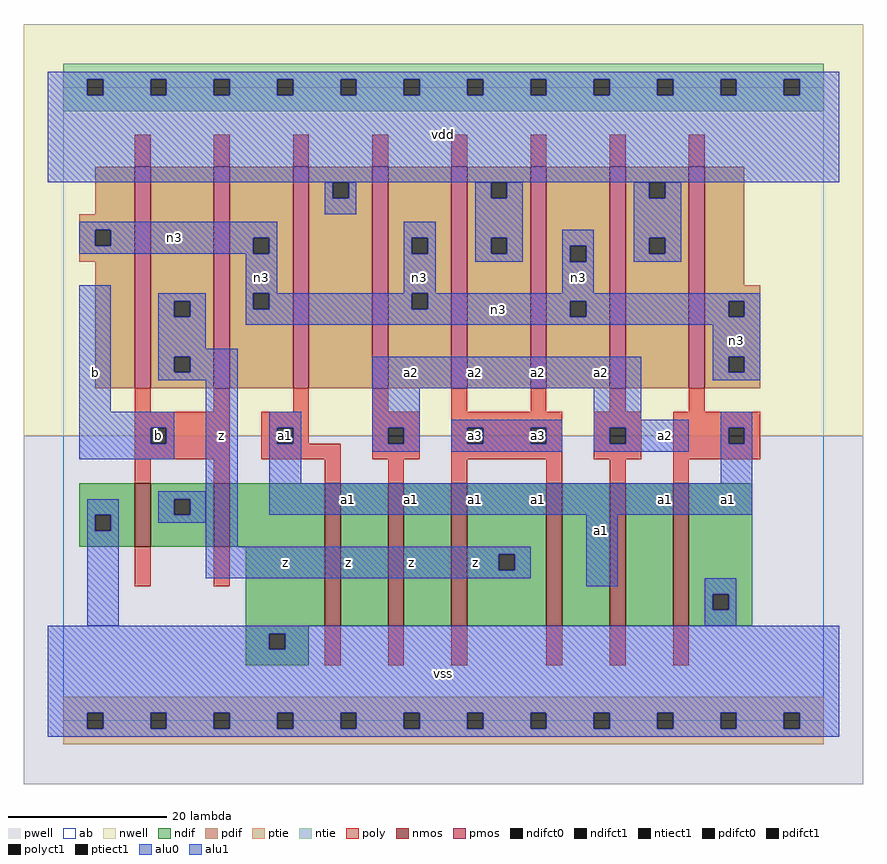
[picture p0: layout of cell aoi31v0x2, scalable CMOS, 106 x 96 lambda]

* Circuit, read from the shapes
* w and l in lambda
.subckt aoi31v0x2 a1 a2 a3 b n3 vdd vss z
M1 z b vss vss nfet w=8 l=2 m=2
M2 n1 a1 vss vss nfet w=18 l=2
M3 n2 a2 n1 vss nfet w=18 l=2
M4 z a3 n2 vss nfet w=18 l=2
M5 n4 a3 z vss nfet w=18 l=2
M6 n5 a2 n4 vss nfet w=18 l=2
M7 vss a1 n5 vss nfet w=18 l=2
M8 z b n3 vdd pfet w=28 l=2 m=2
M9 vdd a1 n3 vdd pfet w=28 l=2 m=2
M10 n3 a2 vdd vdd pfet w=28 l=2 m=2
M11 vdd a3 n3 vdd pfet w=28 l=2 m=2
.ends

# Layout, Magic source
magic
tech scmos
<< ab >>
rect 0 0 96 80
<< nwell >>
rect -5 36 101 88
<< pwell >>
rect -5 -8 101 36
<< poly >>
rect 9 70 11 74
rect 19 70 21 74
rect 29 70 31 74
rect 39 70 41 74
rect 49 70 51 74
rect 59 70 61 74
rect 69 70 71 74
rect 79 70 81 74
rect 9 39 11 42
rect 19 39 21 42
rect 29 39 31 42
rect 9 37 21 39
rect 9 35 11 37
rect 13 35 21 37
rect 9 33 21 35
rect 25 37 31 39
rect 25 35 27 37
rect 29 35 31 37
rect 39 39 41 42
rect 49 39 51 42
rect 59 39 61 42
rect 69 39 71 42
rect 79 39 81 42
rect 39 37 45 39
rect 39 35 41 37
rect 43 35 45 37
rect 25 33 35 35
rect 39 33 45 35
rect 49 37 63 39
rect 49 35 51 37
rect 53 35 59 37
rect 61 35 63 37
rect 49 33 63 35
rect 67 37 73 39
rect 67 35 69 37
rect 71 35 73 37
rect 67 33 73 35
rect 77 37 88 39
rect 77 35 84 37
rect 86 35 88 37
rect 77 33 88 35
rect 9 30 11 33
rect 19 30 21 33
rect 33 30 35 33
rect 41 30 43 33
rect 49 30 51 33
rect 61 30 63 33
rect 69 30 71 33
rect 77 30 79 33
rect 9 17 11 22
rect 19 17 21 22
rect 33 7 35 12
rect 41 7 43 12
rect 49 7 51 12
rect 61 7 63 12
rect 69 7 71 12
rect 77 7 79 12
<< ndif >>
rect 2 26 9 30
rect 2 24 4 26
rect 6 24 9 26
rect 2 22 9 24
rect 11 28 19 30
rect 11 26 14 28
rect 16 26 19 28
rect 11 22 19 26
rect 21 22 33 30
rect 23 12 33 22
rect 35 12 41 30
rect 43 12 49 30
rect 51 21 61 30
rect 51 19 55 21
rect 57 19 61 21
rect 51 12 61 19
rect 63 12 69 30
rect 71 12 77 30
rect 79 16 87 30
rect 79 14 82 16
rect 84 14 87 16
rect 79 12 87 14
rect 23 11 31 12
rect 23 9 26 11
rect 28 9 31 11
rect 23 7 31 9
<< pdif >>
rect 4 64 9 70
rect 2 62 9 64
rect 2 60 4 62
rect 6 60 9 62
rect 2 58 9 60
rect 4 42 9 58
rect 11 53 19 70
rect 11 51 14 53
rect 16 51 19 53
rect 11 46 19 51
rect 11 44 14 46
rect 16 44 19 46
rect 11 42 19 44
rect 21 61 29 70
rect 21 59 24 61
rect 26 59 29 61
rect 21 54 29 59
rect 21 52 24 54
rect 26 52 29 54
rect 21 42 29 52
rect 31 68 39 70
rect 31 66 34 68
rect 36 66 39 68
rect 31 42 39 66
rect 41 61 49 70
rect 41 59 44 61
rect 46 59 49 61
rect 41 54 49 59
rect 41 52 44 54
rect 46 52 49 54
rect 41 42 49 52
rect 51 68 59 70
rect 51 66 54 68
rect 56 66 59 68
rect 51 61 59 66
rect 51 59 54 61
rect 56 59 59 61
rect 51 42 59 59
rect 61 60 69 70
rect 61 58 64 60
rect 66 58 69 60
rect 61 53 69 58
rect 61 51 64 53
rect 66 51 69 53
rect 61 42 69 51
rect 71 68 79 70
rect 71 66 74 68
rect 76 66 79 68
rect 71 61 79 66
rect 71 59 74 61
rect 76 59 79 61
rect 71 42 79 59
rect 81 55 86 70
rect 81 53 88 55
rect 81 51 84 53
rect 86 51 88 53
rect 81 46 88 51
rect 81 44 84 46
rect 86 44 88 46
rect 81 42 88 44
<< alu1 >>
rect -2 81 98 82
rect -2 79 3 81
rect 5 79 11 81
rect 13 79 19 81
rect 21 79 27 81
rect 29 79 35 81
rect 37 79 43 81
rect 45 79 51 81
rect 53 79 59 81
rect 61 79 67 81
rect 69 79 75 81
rect 77 79 83 81
rect 85 79 91 81
rect 93 79 98 81
rect -2 68 98 79
rect 2 39 6 55
rect 12 53 18 54
rect 12 51 14 53
rect 16 51 18 53
rect 12 47 18 51
rect 12 46 22 47
rect 12 44 14 46
rect 16 44 22 46
rect 12 43 22 44
rect 2 37 14 39
rect 2 35 11 37
rect 13 35 14 37
rect 2 33 14 35
rect 18 22 22 43
rect 39 42 73 46
rect 26 37 30 39
rect 26 35 27 37
rect 29 35 30 37
rect 26 30 30 35
rect 39 37 45 42
rect 67 38 73 42
rect 39 35 41 37
rect 43 35 45 37
rect 39 34 45 35
rect 49 37 63 38
rect 49 35 51 37
rect 53 35 59 37
rect 61 35 63 37
rect 49 34 63 35
rect 67 37 79 38
rect 67 35 69 37
rect 71 35 79 37
rect 67 34 79 35
rect 83 37 87 39
rect 83 35 84 37
rect 86 35 87 37
rect 83 30 87 35
rect 26 26 87 30
rect 18 21 59 22
rect 18 19 55 21
rect 57 19 59 21
rect 18 18 59 19
rect 66 17 70 26
rect -2 11 98 12
rect -2 9 26 11
rect 28 9 98 11
rect -2 1 98 9
rect -2 -1 3 1
rect 5 -1 11 1
rect 13 -1 19 1
rect 21 -1 27 1
rect 29 -1 35 1
rect 37 -1 43 1
rect 45 -1 51 1
rect 53 -1 59 1
rect 61 -1 67 1
rect 69 -1 75 1
rect 77 -1 83 1
rect 85 -1 91 1
rect 93 -1 98 1
rect -2 -2 98 -1
<< ptie >>
rect 0 1 96 3
rect 0 -1 3 1
rect 5 -1 11 1
rect 13 -1 19 1
rect 21 -1 27 1
rect 29 -1 35 1
rect 37 -1 43 1
rect 45 -1 51 1
rect 53 -1 59 1
rect 61 -1 67 1
rect 69 -1 75 1
rect 77 -1 83 1
rect 85 -1 91 1
rect 93 -1 96 1
rect 0 -3 96 -1
<< ntie >>
rect 0 81 96 83
rect 0 79 3 81
rect 5 79 11 81
rect 13 79 19 81
rect 21 79 27 81
rect 29 79 35 81
rect 37 79 43 81
rect 45 79 51 81
rect 53 79 59 81
rect 61 79 67 81
rect 69 79 75 81
rect 77 79 83 81
rect 85 79 91 81
rect 93 79 96 81
rect 0 77 96 79
<< nmos >>
rect 9 22 11 30
rect 19 22 21 30
rect 33 12 35 30
rect 41 12 43 30
rect 49 12 51 30
rect 61 12 63 30
rect 69 12 71 30
rect 77 12 79 30
<< pmos >>
rect 9 42 11 70
rect 19 42 21 70
rect 29 42 31 70
rect 39 42 41 70
rect 49 42 51 70
rect 59 42 61 70
rect 69 42 71 70
rect 79 42 81 70
<< polyct1 >>
rect 11 35 13 37
rect 27 35 29 37
rect 41 35 43 37
rect 51 35 53 37
rect 59 35 61 37
rect 69 35 71 37
rect 84 35 86 37
<< ndifct0 >>
rect 4 24 6 26
rect 14 26 16 28
rect 82 14 84 16
<< ndifct1 >>
rect 55 19 57 21
rect 26 9 28 11
<< ntiect1 >>
rect 3 79 5 81
rect 11 79 13 81
rect 19 79 21 81
rect 27 79 29 81
rect 35 79 37 81
rect 43 79 45 81
rect 51 79 53 81
rect 59 79 61 81
rect 67 79 69 81
rect 75 79 77 81
rect 83 79 85 81
rect 91 79 93 81
<< ptiect1 >>
rect 3 -1 5 1
rect 11 -1 13 1
rect 19 -1 21 1
rect 27 -1 29 1
rect 35 -1 37 1
rect 43 -1 45 1
rect 51 -1 53 1
rect 59 -1 61 1
rect 67 -1 69 1
rect 75 -1 77 1
rect 83 -1 85 1
rect 91 -1 93 1
<< pdifct0 >>
rect 4 60 6 62
rect 24 59 26 61
rect 24 52 26 54
rect 34 66 36 68
rect 44 59 46 61
rect 44 52 46 54
rect 54 66 56 68
rect 54 59 56 61
rect 64 58 66 60
rect 64 51 66 53
rect 74 66 76 68
rect 74 59 76 61
rect 84 51 86 53
rect 84 44 86 46
<< pdifct1 >>
rect 14 51 16 53
rect 14 44 16 46
<< alu0 >>
rect 33 66 34 68
rect 36 66 37 68
rect 33 64 37 66
rect 52 66 54 68
rect 56 66 58 68
rect 2 62 27 63
rect 2 60 4 62
rect 6 61 27 62
rect 6 60 24 61
rect 2 59 24 60
rect 26 59 27 61
rect 23 54 27 59
rect 43 61 47 63
rect 43 59 44 61
rect 46 59 47 61
rect 43 54 47 59
rect 52 61 58 66
rect 72 66 74 68
rect 76 66 78 68
rect 52 59 54 61
rect 56 59 58 61
rect 52 58 58 59
rect 63 60 67 62
rect 63 58 64 60
rect 66 58 67 60
rect 72 61 78 66
rect 72 59 74 61
rect 76 59 78 61
rect 72 58 78 59
rect 63 54 67 58
rect 23 52 24 54
rect 26 52 44 54
rect 46 53 88 54
rect 46 52 64 53
rect 23 51 64 52
rect 66 51 84 53
rect 86 51 88 53
rect 23 50 88 51
rect 82 46 88 50
rect 12 28 18 29
rect 3 26 7 28
rect 3 24 4 26
rect 6 24 7 26
rect 12 26 14 28
rect 16 26 18 28
rect 12 25 18 26
rect 3 12 7 24
rect 82 44 84 46
rect 86 44 88 46
rect 82 43 88 44
rect 81 16 85 18
rect 81 14 82 16
rect 84 14 85 16
rect 81 12 85 14
<< labels >>
rlabel alu0 45 56 45 56 6 n3
rlabel alu0 14 61 14 61 6 n3
rlabel alu0 25 56 25 56 6 n3
rlabel alu0 65 56 65 56 6 n3
rlabel alu0 55 52 55 52 6 n3
rlabel alu0 85 48 85 48 6 n3
rlabel alu1 4 44 4 44 6 b
rlabel polyct1 12 36 12 36 6 b
rlabel alu1 28 20 28 20 6 z
rlabel alu1 20 36 20 36 6 z
rlabel polyct1 28 36 28 36 6 a1
rlabel alu1 48 6 48 6 6 vss
rlabel alu1 36 20 36 20 6 z
rlabel alu1 36 28 36 28 6 a1
rlabel alu1 44 20 44 20 6 z
rlabel alu1 44 28 44 28 6 a1
rlabel alu1 52 20 52 20 6 z
rlabel alu1 52 28 52 28 6 a1
rlabel alu1 44 44 44 44 6 a2
rlabel polyct1 52 36 52 36 6 a3
rlabel alu1 52 44 52 44 6 a2
rlabel alu1 48 74 48 74 6 vdd
rlabel alu1 60 28 60 28 6 a1
rlabel alu1 68 24 68 24 6 a1
rlabel alu1 76 28 76 28 6 a1
rlabel polyct1 60 36 60 36 6 a3
rlabel alu1 60 44 60 44 6 a2
rlabel alu1 68 44 68 44 6 a2
rlabel alu1 76 36 76 36 6 a2
rlabel alu1 84 28 84 28 6 a1
<< end >>
